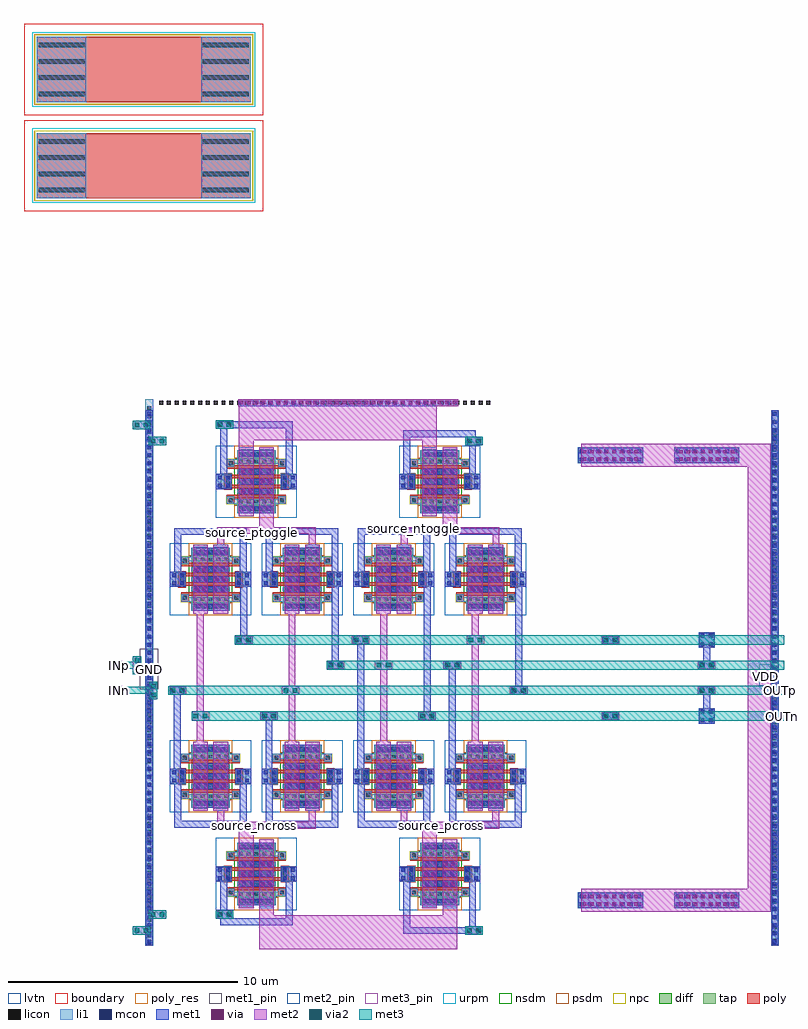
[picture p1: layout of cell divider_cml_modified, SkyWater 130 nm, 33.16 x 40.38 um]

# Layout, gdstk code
from math import pi, radians
import gdstk
lib = gdstk.Library(unit=1e-6, precision=5e-09)
def R(c, l, rs):  # rectangles x0, y0, x1, y1
    for r in rs: c.add(gdstk.rectangle(r[:2], r[2:], *l))
def A(c, l, x, y, w, h, nx, ny, dx, dy):  # array of equal rectangles
    R(c, l, [(x+i*dx, y+j*dy, x+i*dx+w, y+j*dy+h) for i in range(nx) for j in range(ny)])
def P(c, l, *ps):  # polygons
    for p in ps: c.add(gdstk.Polygon(p, *l))
diff = (65, 20)
tap = (65, 44)
poly_res = (66, 13)
poly = (66, 20)
licon = (66, 44)
li1 = (67, 20)
mcon = (67, 44)
met1_pin = (68, 16)
met1 = (68, 20)
via = (68, 44)
met2_pin = (69, 16)
met2 = (69, 20)
via2 = (69, 44)
met3_pin = (70, 16)
met3 = (70, 20)
urpm = (79, 20)
nsdm = (93, 44)
psdm = (94, 20)
npc = (95, 20)
lvtn = (125, 44)
boundary = (235, 4)

contact_9 = lib.new_cell('contact$9')
R(contact_9, met1, [(-0.32,-0.16,0.32,0.16)])
R(contact_9, via, [(-0.235,-0.075,-0.085,0.075), (0.085,-0.075,0.235,0.075)])
R(contact_9, met2, [(-0.32,-0.16,0.32,0.16)])

contact_8 = lib.new_cell('contact$8')
R(contact_8, met2, [(-0.385,-0.185,0.385,0.185)])
R(contact_8, via2, [(-0.3,-0.1,-0.1,0.1), (0.1,-0.1,0.3,0.1)])
R(contact_8, met3, [(-0.385,-0.185,0.385,0.185)])

rf_nfet_01v8_lvt_cm02w1p = lib.new_cell('rf_nfet_01v8_lvt_cM02W1p65L0p15')
R(rf_nfet_01v8_lvt_cm02w1p, diff, [(0.555,0.945,2.595,2.595)])
R(rf_nfet_01v8_lvt_cm02w1p, tap, [(0.205,0.945,0.555,2.595), (2.595,0.945,2.945,2.595)])
R(rf_nfet_01v8_lvt_cm02w1p, poly, [(0.6,0.485,0.93,0.815), (0.855,0.485,1.005,3.055), (2.145,0.485,2.295,3.055), (2.22,0.485,2.55,0.815), (0.6,2.725,0.93,3.055), (2.22,2.725,2.55,3.055)])
P(rf_nfet_01v8_lvt_cm02w1p, poly, [(1.215,0.365),(1.215,0.695),(1.285,0.695),(1.285,2.845),(1.215,2.845),(1.215,3.175),(1.715,3.175),(1.715,2.845),(1.435,2.845),(1.435,0.695),(1.715,0.695),(1.715,3.175),(1.935,3.175),(1.935,2.845),(1.865,2.845),(1.865,0.695),(1.935,0.695),(1.935,0.365)])
A(rf_nfet_01v8_lvt_cm02w1p, licon, 0.29, 1.005, 0.17, 0.17, 1, 5, 0, 0.34)
A(rf_nfet_01v8_lvt_cm02w1p, licon, 0.63, 1.005, 0.17, 0.17, 1, 5, 0, 0.34)
A(rf_nfet_01v8_lvt_cm02w1p, licon, 1.06, 1.005, 0.17, 1.53, 3, 1, 0.43, 0)
A(rf_nfet_01v8_lvt_cm02w1p, licon, 2.35, 1.005, 0.17, 0.17, 1, 5, 0, 0.34)
A(rf_nfet_01v8_lvt_cm02w1p, licon, 2.69, 1.005, 0.17, 0.17, 1, 5, 0, 0.34)
R(rf_nfet_01v8_lvt_cm02w1p, licon, [(1.32,0.445,1.83,0.615), (0.68,0.565,0.85,0.735), (2.3,0.565,2.47,0.735), (0.68,2.805,0.85,2.975), (2.3,2.805,2.47,2.975), (1.32,2.925,1.83,3.095)])
A(rf_nfet_01v8_lvt_cm02w1p, li1, 1.06, 0.925, 0.17, 1.69, 3, 1, 0.43, 0)
R(rf_nfet_01v8_lvt_cm02w1p, li1, [(1.24,0,1.91,0.695), (0.6,0.485,0.93,0.815), (2.22,0.485,2.55,0.815), (0.6,0.815,0.8,0.925), (2.35,0.815,2.55,0.925), (0.205,0.925,0.8,2.615), (2.35,0.925,2.945,2.615), (0.6,2.615,0.8,2.725), (2.35,2.615,2.55,2.725), (0.6,2.725,0.93,3.055), (2.22,2.725,2.55,3.055), (1.24,2.845,1.91,3.54)])
A(rf_nfet_01v8_lvt_cm02w1p, mcon, 0.3, 1.145, 0.17, 0.17, 1, 4, 0, 0.36)
A(rf_nfet_01v8_lvt_cm02w1p, mcon, 1.06, 1.145, 0.17, 0.17, 3, 4, 0.43, 0.36)
A(rf_nfet_01v8_lvt_cm02w1p, mcon, 2.68, 1.145, 0.17, 0.17, 1, 4, 0, 0.36)
R(rf_nfet_01v8_lvt_cm02w1p, mcon, [(1.31,0.095,1.48,0.265), (1.67,0.095,1.84,0.265), (1.31,0.455,1.48,0.625), (1.67,0.455,1.84,0.625), (1.31,2.915,1.48,3.085), (1.67,2.915,1.84,3.085), (1.31,3.275,1.48,3.445), (1.67,3.275,1.84,3.445)])
R(rf_nfet_01v8_lvt_cm02w1p, met1_pin, [(1.275,0.22,1.87,0.475), (0.205,1.695,0.435,1.845), (2.715,1.695,2.945,1.845), (1.275,3.04,1.87,3.295)])
A(rf_nfet_01v8_lvt_cm02w1p, met1, 1.015, 1.005, 0.26, 1.53, 3, 1, 0.43, 0)
R(rf_nfet_01v8_lvt_cm02w1p, met1, [(1.25,0,1.9,0.685), (0.205,1.005,0.5,2.535), (2.65,1.005,2.945,2.535), (1.25,2.855,1.9,3.54)])
R(rf_nfet_01v8_lvt_cm02w1p, via, [(1.07,1.09,1.22,1.24), (1.93,1.09,2.08,1.24), (1.07,1.41,1.22,1.56), (1.93,1.41,2.08,1.56), (1.5,1.98,1.65,2.13), (1.5,2.3,1.65,2.45)])
R(rf_nfet_01v8_lvt_cm02w1p, met2_pin, [(0.07,1.005,0.175,1.645), (0.07,1.895,0.175,2.535)])
R(rf_nfet_01v8_lvt_cm02w1p, met2, [(0.07,1.005,3.08,1.645), (0.07,1.895,3.08,2.535)])
R(rf_nfet_01v8_lvt_cm02w1p, nsdm, [(0.555,0.815,2.595,2.725)])
R(rf_nfet_01v8_lvt_cm02w1p, psdm, [(0,0.815,0.555,2.725), (2.595,0.815,3.15,2.725)])
R(rf_nfet_01v8_lvt_cm02w1p, npc, [(1.22,0.345,1.93,0.715), (0.58,0.465,0.95,0.835), (2.2,0.465,2.57,0.835), (0.58,2.705,0.95,3.075), (2.2,2.705,2.57,3.075), (1.22,2.825,1.93,3.195)])
R(rf_nfet_01v8_lvt_cm02w1p, lvtn, [(0,0,3.15,3.54)])
rf_nfet_01v8_lvt_cm02w1p.add(gdstk.Label('SUBSTRATE', (2.825,1.775), layer=68, texttype=16))
rf_nfet_01v8_lvt_cm02w1p.add(gdstk.Label('SUBSTRATE', (0.315,1.775), layer=68, texttype=16))
rf_nfet_01v8_lvt_cm02w1p.add(gdstk.Label('GATE', (1.56,3.175), layer=68, texttype=5))
rf_nfet_01v8_lvt_cm02w1p.add(gdstk.Label('GATE', (1.585,0.345), layer=68, texttype=5))
rf_nfet_01v8_lvt_cm02w1p.add(gdstk.Label('dummy_poly', (0.915,1.765), layer=83, texttype=44))
rf_nfet_01v8_lvt_cm02w1p.add(gdstk.Label('dummy_poly', (2.205,1.755), layer=83, texttype=44))
rf_nfet_01v8_lvt_cm02w1p.add(gdstk.Label('SOURCE', (0.175,1.325), layer=69, texttype=5))
rf_nfet_01v8_lvt_cm02w1p.add(gdstk.Label('DRAIN', (0.175,2.215), layer=69, texttype=5))
rf_nfet_01v8_lvt_cm02w1p.add(gdstk.Label('model_use_only', (1.79,1.77), layer=66, texttype=83))
rf_nfet_01v8_lvt_cm02w1p.add(gdstk.Label('model_use_only', (1.36,1.77), layer=66, texttype=83))
rf_nfet_01v8_lvt_cm02w1p.add(gdstk.Label('model_use_only', (0.905,1.77), layer=66, texttype=83))
rf_nfet_01v8_lvt_cm02w1p.add(gdstk.Label('model_use_only', (2.205,1.77), layer=66, texttype=83))

sky130_fd_pr__res_xhigh_ = lib.new_cell('sky130_fd_pr__res_xhigh_po_2p85_u0pqpv')
R(sky130_fd_pr__res_xhigh_, poly_res, [(-1.425,-2.56,1.425,2.56)])
R(sky130_fd_pr__res_xhigh_, poly, [(-1.425,-4.66,1.425,4.66)])
A(sky130_fd_pr__res_xhigh_, licon, -1.16, -4.58, 0.19, 2, 4, 2, 0.71, 7.16)
R(sky130_fd_pr__res_xhigh_, li1, [(-1.425,-4.66,1.425,-2.5), (-1.425,2.5,1.425,4.66)])
R(sky130_fd_pr__res_xhigh_, urpm, [(-1.625,-4.86,1.625,4.86)])
R(sky130_fd_pr__res_xhigh_, psdm, [(-1.535,-4.77,1.535,4.77)])
R(sky130_fd_pr__res_xhigh_, npc, [(-1.52,-4.755,1.52,4.755)])
R(sky130_fd_pr__res_xhigh_, boundary, [(-1.99,-5.225,1.99,5.225)])

contact_16 = lib.new_cell('contact$16')
R(contact_16, li1, [(-1.425,-0.345,1.425,0.345)])
A(contact_16, mcon, -1.345, -0.265, 0.17, 0.17, 8, 2, 0.36, 0.36)
R(contact_16, met1, [(-1.405,-0.325,1.405,0.325)])

contact_2 = lib.new_cell('contact$2')
R(contact_2, li1, [(-0.345,-0.345,0.345,0.345)])
R(contact_2, mcon, [(-0.265,-0.265,-0.095,-0.095), (0.095,-0.265,0.265,-0.095), (-0.265,0.095,-0.095,0.265), (0.095,0.095,0.265,0.265)])
R(contact_2, met1, [(-0.325,-0.325,0.325,0.325)])

contact_13 = lib.new_cell('contact$13')
R(contact_13, li1, [(-0.345,-0.165,0.345,0.165)])
R(contact_13, mcon, [(-0.265,-0.085,-0.095,0.085), (0.095,-0.085,0.265,0.085)])
R(contact_13, met1, [(-0.325,-0.145,0.325,0.145)])

contact_4 = lib.new_cell('contact$4')
R(contact_4, met1, [(-4.8,-0.16,4.8,0.16)])
A(contact_4, via, -4.715, -0.075, 0.15, 0.15, 30, 1, 0.32, 0)
R(contact_4, met2, [(-4.8,-0.16,4.8,0.16)])

contact_19 = lib.new_cell('contact$19')
R(contact_19, met1, [(-1.28,-0.32,1.28,0.32)])
A(contact_19, via, -1.195, -0.235, 0.15, 0.15, 8, 2, 0.32, 0.32)
R(contact_19, met2, [(-1.28,-0.32,1.28,0.32)])

contact_21 = lib.new_cell('contact$21')
R(contact_21, li1, [(-0.165,-11.685,0.165,11.685)])
A(contact_21, mcon, -0.085, -11.605, 0.17, 0.17, 1, 65, 0, 0.36)
R(contact_21, met1, [(-0.145,-11.665,0.145,11.665)])

divider_cml_modified = lib.new_cell('divider_cml_modified')
A(divider_cml_modified, licon, 1.26, 0.74, 0.17, 0.17, 1, 14, 0, 0.34)
A(divider_cml_modified, licon, 28.56, 1.525, 0.17, 0.17, 1, 64, 0, 0.34)
A(divider_cml_modified, licon, 1.26, 6.285, 0.17, 0.17, 1, 38, 0, 0.34)
A(divider_cml_modified, licon, 1.26, 19.99, 0.17, 0.17, 1, 13, 0, 0.34)
A(divider_cml_modified, licon, 1.78, 24.315, 0.17, 0.17, 43, 1, 0.34, 0)
R(divider_cml_modified, licon, [(28.56,0.74,28.73,0.91), (28.56,0.845,28.73,1.015), (28.56,1.185,28.73,1.355), (28.56,1.42,28.73,1.59), (1.26,5.265,1.43,5.435), (1.26,5.5,1.43,5.67), (1.26,5.605,1.43,5.775), (1.26,5.84,1.43,6.01), (1.26,5.945,1.43,6.115), (1.26,6.18,1.43,6.35), (1.26,18.97,1.43,19.14), (1.26,19.205,1.43,19.375), (1.26,19.31,1.43,19.48), (1.26,19.545,1.43,19.715), (1.26,19.65,1.43,19.82), (1.26,19.885,1.43,20.055), (28.56,23.05,28.73,23.22)])
R(divider_cml_modified, li1, [(1.18,24.09,1.51,24.565)])
R(divider_cml_modified, met1_pin, [(0.935,11.895,1.735,13.675)])
R(divider_cml_modified, met2_pin, [(27.96,12.06,28.46,12.985)])
R(divider_cml_modified, met2, [(6.145,0.56,14.785,1.395), (5.255,23.405,13.895,24.245)])
R(divider_cml_modified, met3_pin, [(0,11.65,0.16,12.05), (0,12.75,0.16,13.15)])
divider_cml_modified.add(gdstk.FlexPath([(12.59,3.515),(12.59,1.37),(15.45,1.37),(15.45,3.515)], 0.3, ends="flush", simple_path=True, layer=68, datatype=20))  # met1
divider_cml_modified.add(gdstk.FlexPath([(4.59,3.515),(4.59,1.755),(7.45,1.755),(7.45,3.515)], 0.3, ends="flush", simple_path=True, layer=68, datatype=20))  # met1
divider_cml_modified.add(gdstk.FlexPath([(2.59,7.775),(2.59,6.015),(5.45,6.015),(5.45,7.775)], 0.3, ends="flush", simple_path=True, layer=68, datatype=20))  # met1
divider_cml_modified.add(gdstk.FlexPath([(6.59,7.775),(6.59,6.015),(9.45,6.015),(9.45,7.775)], 0.3, ends="flush", simple_path=True, layer=68, datatype=20))  # met1
divider_cml_modified.add(gdstk.FlexPath([(10.59,7.775),(10.59,6.015),(13.45,6.015),(13.45,7.775)], 0.3, ends="flush", simple_path=True, layer=68, datatype=20))  # met1
divider_cml_modified.add(gdstk.FlexPath([(14.59,7.775),(14.59,6.015),(17.45,6.015),(17.45,7.775)], 0.3, ends="flush", simple_path=True, layer=68, datatype=20))  # met1
divider_cml_modified.add(gdstk.FlexPath([(17.45,17.025),(17.45,18.785),(14.59,18.785),(14.59,17.025)], 0.3, ends="flush", simple_path=True, layer=68, datatype=20))  # met1
divider_cml_modified.add(gdstk.FlexPath([(13.45,17.025),(13.45,18.785),(10.59,18.785),(10.59,17.025)], 0.3, ends="flush", simple_path=True, layer=68, datatype=20))  # met1
divider_cml_modified.add(gdstk.FlexPath([(9.45,17.025),(9.45,18.785),(6.59,18.785),(6.59,17.025)], 0.3, ends="flush", simple_path=True, layer=68, datatype=20))  # met1
divider_cml_modified.add(gdstk.FlexPath([(5.45,17.025),(5.45,18.785),(2.59,18.785),(2.59,17.025)], 0.3, ends="flush", simple_path=True, layer=68, datatype=20))  # met1
divider_cml_modified.add(gdstk.FlexPath([(15.45,21.285),(15.45,23.045),(12.59,23.045),(12.59,21.285)], 0.3, ends="flush", simple_path=True, layer=68, datatype=20))  # met1
divider_cml_modified.add(gdstk.FlexPath([(7.45,21.285),(7.45,23.44),(4.59,23.44),(4.59,21.285)], 0.3, ends="flush", simple_path=True, layer=68, datatype=20))  # met1
divider_cml_modified.add(gdstk.FlexPath([(25.67,10.405),(25.67,12.005)], 0.3, ends="flush", simple_path=True, layer=68, datatype=20))  # met1
divider_cml_modified.add(gdstk.FlexPath([(25.67,12.765),(25.67,14.375)], 0.3, ends="flush", simple_path=True, layer=68, datatype=20))  # met1
divider_cml_modified.add(gdstk.FlexPath([(2.57,8.45),(2.57,12.01)], 0.3, ends="flush", simple_path=True, layer=68, datatype=20))  # met1
divider_cml_modified.add(gdstk.FlexPath([(5.47,13.865),(5.47,16.375)], 0.3, ends="flush", simple_path=True, layer=68, datatype=20))  # met1
divider_cml_modified.add(gdstk.FlexPath([(6.57,8.425),(6.57,10.88)], 0.3, ends="flush", simple_path=True, layer=68, datatype=20))  # met1
divider_cml_modified.add(gdstk.FlexPath([(9.47,12.815),(9.47,16.375)], 0.3, ends="flush", simple_path=True, layer=68, datatype=20))  # met1
divider_cml_modified.add(gdstk.FlexPath([(10.57,8.425),(10.57,14.23)], 0.3, ends="flush", simple_path=True, layer=68, datatype=20))  # met1
divider_cml_modified.add(gdstk.FlexPath([(13.47,10.555),(13.47,16.375)], 0.3, ends="flush", simple_path=True, layer=68, datatype=20))  # met1
divider_cml_modified.add(gdstk.FlexPath([(14.57,8.425),(14.57,13.135)], 0.3, ends="flush", simple_path=True, layer=68, datatype=20))  # met1
divider_cml_modified.add(gdstk.FlexPath([(17.47,11.665),(17.47,16.375)], 0.3, ends="flush", simple_path=True, layer=68, datatype=20))  # met1
divider_cml_modified.add(gdstk.FlexPath([(13.575,22.46),(13.575,23.085),(5.575,23.085),(5.575,22.46)], 0.64, ends="flush", simple_path=True, layer=69, datatype=20))  # met2
divider_cml_modified.add(gdstk.FlexPath([(4.465,6.595),(4.465,5.97),(8.465,5.97),(8.465,6.595)], 0.3, ends="flush", simple_path=True, layer=69, datatype=20))  # met2
divider_cml_modified.add(gdstk.FlexPath([(12.465,6.595),(12.465,5.97),(16.465,5.97),(16.465,6.595)], 0.3, ends="flush", simple_path=True, layer=69, datatype=20))  # met2
divider_cml_modified.add(gdstk.FlexPath([(5.575,5.345),(5.575,5.82)], 0.64, ends="flush", simple_path=True, layer=69, datatype=20))  # met2
divider_cml_modified.add(gdstk.FlexPath([(13.575,5.345),(13.575,5.82)], 0.64, ends="flush", simple_path=True, layer=69, datatype=20))  # met2
divider_cml_modified.add(gdstk.FlexPath([(14.465,19.455),(14.465,18.98)], 0.64, ends="flush", simple_path=True, layer=69, datatype=20))  # met2
divider_cml_modified.add(gdstk.FlexPath([(6.465,19.455),(6.465,18.98)], 0.64, ends="flush", simple_path=True, layer=69, datatype=20))  # met2
divider_cml_modified.add(gdstk.FlexPath([(16.475,18.205),(16.475,18.83),(12.475,18.83),(12.475,18.205)], 0.3, ends="flush", simple_path=True, layer=69, datatype=20))  # met2
divider_cml_modified.add(gdstk.FlexPath([(8.465,18.205),(8.465,18.83),(4.465,18.83),(4.465,18.205)], 0.3, ends="flush", simple_path=True, layer=69, datatype=20))  # met2
divider_cml_modified.add(gdstk.FlexPath([(3.575,9.605),(3.575,15.195)], 0.3, ends="flush", simple_path=True, layer=69, datatype=20))  # met2
divider_cml_modified.add(gdstk.FlexPath([(7.575,9.605),(7.575,15.195)], 0.3, ends="flush", simple_path=True, layer=69, datatype=20))  # met2
divider_cml_modified.add(gdstk.FlexPath([(11.575,9.605),(11.575,15.195)], 0.3, ends="flush", simple_path=True, layer=69, datatype=20))  # met2
divider_cml_modified.add(gdstk.FlexPath([(15.575,9.605),(15.575,15.195)], 0.3, ends="flush", simple_path=True, layer=69, datatype=20))  # met2
divider_cml_modified.add(gdstk.FlexPath([(20.19,22.105),(27.96,22.105),(27.96,2.695),(20.19,2.695)], 1, ends="flush", simple_path=True, layer=69, datatype=20))  # met2
divider_cml_modified.add(gdstk.FlexPath([(6.465,2.34),(6.465,1.715),(14.465,1.715),(14.465,2.34)], 0.64, ends="flush", simple_path=True, layer=69, datatype=20))  # met2
divider_cml_modified.add(gdstk.FlexPath([(9.085,12.95),(29.045,12.95)], 0.4, ends="flush", simple_path=True, layer=70, datatype=20))  # met3
divider_cml_modified.add(gdstk.FlexPath([(5.085,14.05),(29.045,14.05)], 0.4, ends="flush", simple_path=True, layer=70, datatype=20))  # met3
divider_cml_modified.add(gdstk.FlexPath([(2.25,11.85),(29.045,11.85)], 0.4, ends="flush", simple_path=True, layer=70, datatype=20))  # met3
divider_cml_modified.add(gdstk.FlexPath([(3.19,10.73),(29.045,10.73)], 0.4, ends="flush", simple_path=True, layer=70, datatype=20))  # met3
divider_cml_modified.add(gdstk.FlexPath([(1.335,11.85),(0,11.85)], 0.3, ends="flush", simple_path=True, layer=70, datatype=20))  # met3
divider_cml_modified.add(gdstk.FlexPath([(0.635,12.95),(0,12.95)], 0.3, ends="flush", simple_path=True, layer=70, datatype=20))  # met3
divider_cml_modified.add(gdstk.Reference(contact_9, (6.57,10.73)))
divider_cml_modified.add(gdstk.Reference(contact_8, (3.575,10.73)))
divider_cml_modified.add(gdstk.Reference(contact_8, (11.575,12.95)))
r = gdstk.Reference(rf_nfet_01v8_lvt_cm02w1p, (15.79,2.265), rotation=pi/2); r.repetition = gdstk.Repetition(1, 2, v1=(0,0), v2=(-8,0)); divider_cml_modified.add(r)
divider_cml_modified.add(gdstk.Reference(contact_8, (7.51,11.85)))
divider_cml_modified.add(gdstk.Reference(contact_9, (2.57,11.85)))
divider_cml_modified.add(gdstk.Reference(contact_8, (5.47,14.05)))
divider_cml_modified.add(gdstk.Reference(contact_8, (21.47,14.05), rotation=pi))
divider_cml_modified.add(gdstk.Reference(contact_8, (21.47,10.73)))
divider_cml_modified.add(gdstk.Reference(contact_8, (2.57,11.85)))
divider_cml_modified.add(gdstk.Reference(contact_8, (6.57,10.73)))
divider_cml_modified.add(gdstk.Reference(contact_9, (14.57,12.95)))
divider_cml_modified.add(gdstk.Reference(contact_9, (10.57,14.05)))
divider_cml_modified.add(gdstk.Reference(contact_8, (10.57,14.05)))
divider_cml_modified.add(gdstk.Reference(contact_8, (14.57,12.95), rotation=pi))
divider_cml_modified.add(gdstk.Reference(contact_8, (15.575,14.05)))
r = gdstk.Reference(rf_nfet_01v8_lvt_cm02w1p, (17.79,6.525), rotation=pi/2); r.repetition = gdstk.Repetition(1, 4, v1=(0,0), v2=(-4,0)); divider_cml_modified.add(r)
r = gdstk.Reference(rf_nfet_01v8_lvt_cm02w1p, (2.25,18.275), rotation=3*pi/2); r.repetition = gdstk.Repetition(1, 4, v1=(0,0), v2=(4,0)); divider_cml_modified.add(r)
divider_cml_modified.add(gdstk.Reference(contact_9, (15.51,22.735)))
divider_cml_modified.add(gdstk.Reference(contact_9, (4.63,23.435)))
divider_cml_modified.add(gdstk.Reference(contact_8, (15.51,22.735)))
divider_cml_modified.add(gdstk.Reference(contact_8, (1.705,2.065)))
divider_cml_modified.add(gdstk.Reference(contact_8, (1.005,1.365)))
divider_cml_modified.add(gdstk.Reference(contact_8, (4.63,23.445)))
divider_cml_modified.add(gdstk.Reference(contact_8, (15.51,1.365)))
divider_cml_modified.add(gdstk.Reference(contact_8, (4.63,2.065)))
divider_cml_modified.add(gdstk.Reference(contact_9, (4.63,2.065)))
divider_cml_modified.add(gdstk.Reference(contact_9, (15.51,1.365)))
divider_cml_modified.add(gdstk.Reference(contact_8, (1.52,11.85), rotation=pi/2))
divider_cml_modified.add(gdstk.Reference(contact_8, (0.82,12.95), rotation=pi/2))
r = gdstk.Reference(sky130_fd_pr__res_xhigh_, (1.105,34.745), rotation=pi/2); r.repetition = gdstk.Repetition(2, 1, v1=(0,4.2), v2=(0,0)); divider_cml_modified.add(r)
divider_cml_modified.add(gdstk.Reference(contact_16, (25.67,2.695)))
divider_cml_modified.add(gdstk.Reference(contact_16, (21.47,2.695)))
divider_cml_modified.add(gdstk.Reference(contact_16, (25.67,22.105)))
divider_cml_modified.add(gdstk.Reference(contact_9, (21.47,10.73)))
divider_cml_modified.add(gdstk.Reference(contact_8, (1.005,23.435)))
divider_cml_modified.add(gdstk.Reference(contact_2, (25.67,14.05)))
divider_cml_modified.add(gdstk.Reference(contact_8, (1.705,22.735)))
divider_cml_modified.add(gdstk.Reference(contact_13, (21.47,14.05)))
divider_cml_modified.add(gdstk.Reference(contact_4, (10.02,24.405)))
divider_cml_modified.add(gdstk.Reference(contact_13, (21.47,10.73)))
divider_cml_modified.add(gdstk.Reference(contact_9, (25.67,12.95)))
divider_cml_modified.add(gdstk.Reference(contact_9, (21.47,14.05)))
divider_cml_modified.add(gdstk.Reference(contact_2, (25.67,10.73)))
divider_cml_modified.add(gdstk.Reference(contact_9, (25.67,11.85)))
divider_cml_modified.add(gdstk.Reference(contact_8, (25.67,11.85)))
divider_cml_modified.add(gdstk.Reference(contact_8, (25.67,12.95)))
divider_cml_modified.add(gdstk.Reference(contact_16, (21.47,22.105)))
divider_cml_modified.add(gdstk.Reference(contact_19, (21.47,22.105)))
divider_cml_modified.add(gdstk.Reference(contact_19, (25.67,22.105)))
divider_cml_modified.add(gdstk.Reference(contact_19, (21.47,2.695)))
divider_cml_modified.add(gdstk.Reference(contact_19, (25.67,2.695)))
divider_cml_modified.add(gdstk.Reference(contact_9, (5.47,14.05)))
divider_cml_modified.add(gdstk.Reference(contact_8, (9.47,12.95)))
divider_cml_modified.add(gdstk.Reference(contact_9, (9.47,12.95)))
divider_cml_modified.add(gdstk.Reference(contact_8, (17.47,11.85)))
divider_cml_modified.add(gdstk.Reference(contact_9, (17.47,11.85)))
divider_cml_modified.add(gdstk.Reference(contact_8, (13.47,10.73)))
divider_cml_modified.add(gdstk.Reference(contact_9, (13.47,10.73)))
r = gdstk.Reference(rf_nfet_01v8_lvt_cm02w1p, (4.25,22.535), rotation=3*pi/2); r.repetition = gdstk.Repetition(1, 2, v1=(0,0), v2=(8,0)); divider_cml_modified.add(r)
divider_cml_modified.add(gdstk.Reference(contact_21, (1.345,12.4)))
divider_cml_modified.add(gdstk.Reference(contact_21, (28.645,12.4)))
divider_cml_modified.add(gdstk.Label('GND', (1.335,12.755), layer=68, texttype=5))
divider_cml_modified.add(gdstk.Label('VDD', (28.22,12.47), layer=69, texttype=5))
divider_cml_modified.add(gdstk.Label('source_ncross', (5.93,5.97), layer=69, texttype=16))
divider_cml_modified.add(gdstk.Label('source_pcross', (14.095,5.97), layer=69, texttype=16))
divider_cml_modified.add(gdstk.Label('source_ntoggle', (12.875,18.93), layer=69, texttype=16))
divider_cml_modified.add(gdstk.Label('source_ptoggle', (5.795,18.72), layer=69, texttype=16))
divider_cml_modified.add(gdstk.Label('OUTp', (28.905,11.85), layer=70, texttype=5))
divider_cml_modified.add(gdstk.Label('OUTn', (28.975,10.73), layer=70, texttype=5))
divider_cml_modified.add(gdstk.Label('INp', (0.055,12.95), layer=70, texttype=5))
divider_cml_modified.add(gdstk.Label('INn', (0.055,11.85), layer=70, texttype=5))

lib.write_gds('divider_cml_modified.gds')
